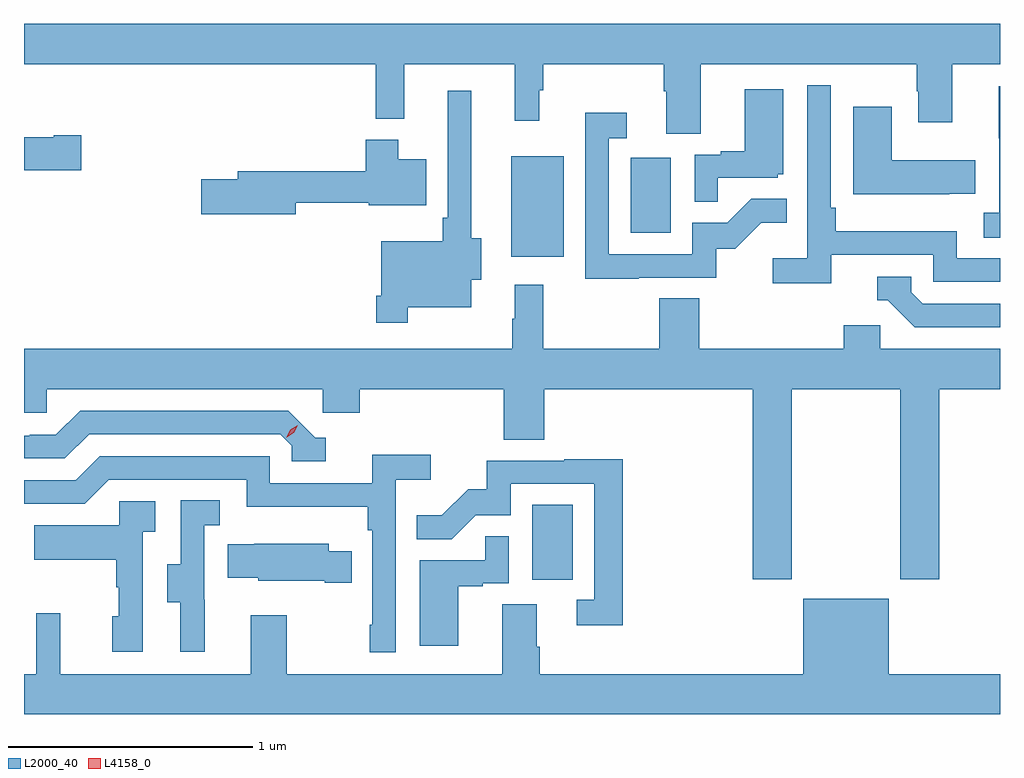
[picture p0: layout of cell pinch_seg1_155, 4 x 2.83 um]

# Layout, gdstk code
import gdstk
lib = gdstk.Library(unit=1e-6, precision=1e-09)
def R(c, l, rs):  # rectangles x0, y0, x1, y1
    for r in rs: c.add(gdstk.rectangle(r[:2], r[2:], *l))
def P(c, l, *ps):  # polygons
    for p in ps: c.add(gdstk.Polygon(p, *l))
L2000_40 = (2000, 40)
L4158_0 = (4158, 0)

pinch_seg1_155 = lib.new_cell('pinch_seg1_155')
R(pinch_seg1_155, L2000_40, [(1084.664,558.942,1084.828,559.249), (1084.577,560.267,1084.792,560.677), (1085.066,560.364,1085.23,560.671)])
P(pinch_seg1_155, L2000_40, [(1085.353,561.056),(1086.238,561.056),(1086.238,560.945),(1086.245,560.945),(1086.245,560.817),(1086.385,560.817),(1086.385,561.056),(1086.58,561.056),(1086.58,561.22),(1082.58,561.22),(1082.58,561.056),(1084.021,561.056),(1084.021,560.831),(1084.139,560.831),(1084.139,561.056),(1084.592,561.056),(1084.592,560.823),(1084.691,560.823),(1084.691,560.948),(1084.709,560.948),(1084.709,561.056),(1085.201,561.056),(1085.201,560.944),(1085.213,560.944),(1085.213,560.77),(1085.353,560.77)],
  [(1085.888,560.274),(1086.306,560.274),(1086.306,560.163),(1086.58,560.163),(1086.58,560.259),(1086.402,560.259),(1086.402,560.371),(1085.906,560.371),(1085.906,560.467),(1085.886,560.467),(1085.886,560.968),(1085.79,560.968),(1085.79,560.26),(1085.649,560.26),(1085.649,560.158),(1085.888,560.158)],
  [(1086.58,560.965),(1086.575,560.965),(1086.575,560.751),(1086.576,560.751),(1086.576,560.447),(1086.513,560.447),(1086.513,560.344),(1086.58,560.344)],
  [(1085.423,560.589),(1085.67,560.589),(1085.67,560.604),(1085.692,560.604),(1085.692,560.953),(1085.534,560.953),(1085.534,560.698),(1085.435,560.698),(1085.435,560.685),(1085.328,560.685),(1085.328,560.491),(1085.423,560.491)],
  [(1084.153,560.06),(1084.414,560.06),(1084.414,560.171),(1084.453,560.171),(1084.453,560.342),(1084.414,560.342),(1084.414,560.947),(1084.317,560.947),(1084.317,560.425),(1084.297,560.425),(1084.297,560.329),(1084.044,560.329),(1084.044,560.107),(1084.024,560.107),(1084.024,559.995),(1084.153,559.995)],
  [(1086.371,560.525),(1086.479,560.525),(1086.479,560.662),(1086.136,560.662),(1086.136,560.881),(1085.978,560.881),(1085.978,560.522),(1086.371,560.522)],
  [(1085.099,560.181),(1085.418,560.181),(1085.418,560.298),(1085.494,560.298),(1085.601,560.405),(1085.705,560.405),(1085.705,560.504),(1085.561,560.504),(1085.463,560.406),(1085.319,560.406),(1085.319,560.277),(1084.977,560.277),(1084.977,560.751),(1085.05,560.751),(1085.05,560.857),(1084.881,560.857),(1084.881,560.176),(1085.099,560.176)],
  [(1082.815,560.763),(1082.702,560.763),(1082.702,560.755),(1082.58,560.755),(1082.58,560.621),(1082.815,560.621)],
  [(1083.694,560.488),(1083.992,560.488),(1083.992,560.477),(1084.228,560.477),(1084.228,560.665),(1084.114,560.665),(1084.114,560.746),(1083.98,560.746),(1083.98,560.617),(1083.455,560.617),(1083.455,560.583),(1083.306,560.583),(1083.306,560.441),(1083.694,560.441)],
  [(1086.58,560.073),(1086.264,560.073),(1086.216,560.121),(1086.216,560.184),(1086.077,560.184),(1086.077,560.088),(1086.12,560.088),(1086.231,559.977),(1086.58,559.977)],
  [(1085.727,559.724),(1086.172,559.724),(1086.172,558.945),(1086.332,558.945),(1086.332,559.724),(1086.58,559.724),(1086.58,559.888),(1086.09,559.888),(1086.09,559.986),(1085.939,559.986),(1085.939,559.888),(1085.348,559.888),(1085.348,560.096),(1085.183,560.096),(1085.183,559.888),(1084.709,559.888),(1084.709,560.152),(1084.592,560.152),(1084.592,560.012),(1084.581,560.012),(1084.581,559.888),(1082.58,559.888),(1082.58,559.626),(1082.673,559.626),(1082.673,559.724),(1083.804,559.724),(1083.804,559.626),(1083.956,559.626),(1083.956,559.724),(1084.547,559.724),(1084.547,559.516),(1084.712,559.516),(1084.712,559.724),(1085.567,559.724),(1085.567,558.945),(1085.727,558.945)],
  [(1083.817,559.524),(1083.774,559.524),(1083.663,559.635),(1082.81,559.635),(1082.711,559.536),(1082.604,559.536),(1082.604,559.533),(1082.58,559.533),(1082.58,559.44),(1082.748,559.44),(1082.847,559.539),(1083.63,559.539),(1083.678,559.491),(1083.678,559.428),(1083.817,559.428)],
  [(1084.104,559.352),(1084.246,559.352),(1084.246,559.454),(1084.007,559.454),(1084.007,559.338),(1083.588,559.338),(1083.588,559.449),(1082.891,559.449),(1082.792,559.35),(1082.58,559.35),(1082.58,559.254),(1082.829,559.254),(1082.928,559.353),(1083.492,559.353),(1083.492,559.241),(1083.988,559.241),(1083.988,559.145),(1084.008,559.145),(1084.008,558.757),(1083.996,558.757),(1083.996,558.645),(1084.104,558.645)],
  [(1085.033,559.436),(1084.795,559.436),(1084.795,559.431),(1084.477,559.431),(1084.477,559.314),(1084.4,559.314),(1084.293,559.207),(1084.189,559.207),(1084.189,559.108),(1084.333,559.108),(1084.431,559.206),(1084.575,559.206),(1084.575,559.335),(1084.917,559.335),(1084.917,558.861),(1084.845,558.861),(1084.845,558.756),(1085.033,558.756)],
  [(1083.32,558.861),(1083.318,558.861),(1083.318,559.165),(1083.382,559.165),(1083.382,559.268),(1083.222,559.268),(1083.222,559.005),(1083.167,559.005),(1083.167,558.85),(1083.221,558.85),(1083.221,558.648),(1083.32,558.648)],
  [(1083.066,559.139),(1083.118,559.139),(1083.118,559.263),(1082.97,559.263),(1082.97,559.165),(1082.623,559.165),(1082.623,559.025),(1082.958,559.025),(1082.958,558.911),(1082.968,558.911),(1082.968,558.792),(1082.942,558.792),(1082.942,558.648),(1083.066,558.648)],
  [(1084.36,558.915),(1084.46,558.915),(1084.46,558.927),(1084.566,558.927),(1084.566,559.121),(1084.471,559.121),(1084.471,559.023),(1084.202,559.023),(1084.202,558.672),(1084.36,558.672)],
  [(1083.923,559.06),(1083.829,559.06),(1083.829,559.09),(1083.523,559.09),(1083.523,559.087),(1083.415,559.087),(1083.415,558.95),(1083.54,558.95),(1083.54,558.938),(1083.812,558.938),(1083.812,558.931),(1083.923,558.931)],
  [(1086.58,558.556),(1086.124,558.556),(1086.124,558.865),(1085.774,558.865),(1085.774,558.556),(1084.694,558.556),(1084.694,558.668),(1084.681,558.668),(1084.681,558.842),(1084.541,558.842),(1084.541,558.556),(1083.657,558.556),(1083.657,558.796),(1083.509,558.796),(1083.509,558.556),(1082.729,558.556),(1082.729,558.805),(1082.631,558.805),(1082.631,558.556),(1082.58,558.556),(1082.58,558.392),(1086.58,558.392)])
P(pinch_seg1_155, L4158_0, [(1083.654,559.525),(1083.654,559.525),(1083.671,559.557),(1083.702,559.576),(1083.702,559.576),(1083.702,559.576),(1083.686,559.544),(1083.655,559.525)])

lib.write_gds('pinch_seg1_155.gds')
